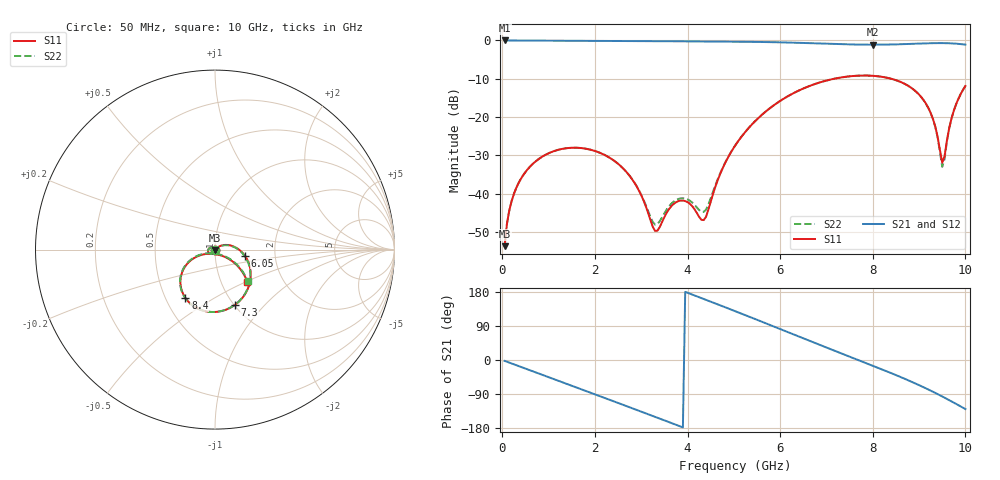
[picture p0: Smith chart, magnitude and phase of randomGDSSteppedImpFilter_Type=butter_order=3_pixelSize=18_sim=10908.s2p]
! freq	dB(S11)	phase(S11)	dB(S12)	phase(S12)
!  dB(S21)	phase(S21)	dB(S22)	phase(S22)
!S-par simulation data
#  GHz  S  DB  R 50
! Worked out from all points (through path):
!   200 points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, 50 MHz to 10 GHz, reference 50 ohm
!   highest |S21| = 0.00 dB at 50 MHz (marker M1); lowest = -1.1 dB at 8 GHz (marker M2)
!   group delay of S21, straight-line fit = 133 ps
!   lowest |S11| = -53.7 dB at 50 MHz (marker M3), VSWR 1.00, Z = 50 - j0.204 ohm
!   |S11| at or under -10 dB: start of sweep to 7.166 GHz; 8.398 GHz to end of sweep
!   |S22| runs from -53.7 to -9.2 dB; largest |S21 - S12| = 0
!   S11 on the Smith chart (normalised r, x): 50 MHz: 1.00, -0.00; 6.05 GHz: 1.40, -0.10; 7.3 GHz: 1.01, -0.70; 8.4 GHz: 0.63, -0.38; 10 GHz: 1.33, -0.51
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0.05  -53.72 -82.2  -0.00 -2.3  -0.00 -2.3  -53.69 -82.3
0.2  -42.00 -96.9  -0.02 -9.1  -0.02 -9.1  -42.00 -96.9
0.5  -34.36 -112.8  -0.03 -22.7  -0.03 -22.7  -34.36 -112.8
1.05  -29.19 -139.1  -0.06 -47.5  -0.06 -47.5  -29.20 -139.2
1.75  -28.17 -171.9  -0.10 -79.2  -0.10 -79.2  -28.17 -172.2
2.6  -33.31 145.3  -0.14 -117.9  -0.14 -117.9  -33.31 144.2
3.3  -49.74 42.4  -0.18 -150.0  -0.18 -150.0  -48.09 39.5
3.4  -48.74 -0.7  -0.19 -154.7  -0.19 -154.7  -47.20 3.0
3.85  -41.82 -57.8  -0.23 -175.5  -0.23 -175.5  -41.24 -52.1
4.35  -46.91 -13.0  -0.27 161.1  -0.27 161.1  -44.75 -14.9
5.05  -27.06 31.6  -0.32 127.9  -0.32 127.9  -27.03 29.4
6.05  -15.41 -11.5  -0.51 79.3  -0.51 79.3  -15.41 -12.3
6.7  -11.59 -42.1  -0.74 47.5  -0.74 47.5  -11.59 -42.7
7.3  -9.70 -70.2  -0.97 18.5  -0.97 18.5  -9.70 -70.7
8  -9.23 -102.6  -1.11 -15.1  -1.11 -15.1  -9.24 -103.1
8.35  -9.85 -119.0  -1.07 -32.2  -1.07 -32.2  -9.86 -119.6
8.4  -10.00 -121.4  -1.06 -34.7  -1.06 -34.7  -10.01 -121.9
9.15  -16.54 -155.9  -0.76 -74.9  -0.76 -74.9  -16.57 -157.1
9.35  -22.49 -158.2  -0.70 -86.9  -0.70 -86.9  -22.60 -160.6
9.5  -31.91 -108.0  -0.70 -96.2  -0.70 -96.2  -33.01 -109.5
9.7  -20.35 -33.9  -0.77 -109.2  -0.77 -109.2  -20.42 -32.1
10  -11.89 -44.9  -1.10 -129.5  -1.10 -129.5  -11.90 -44.2
